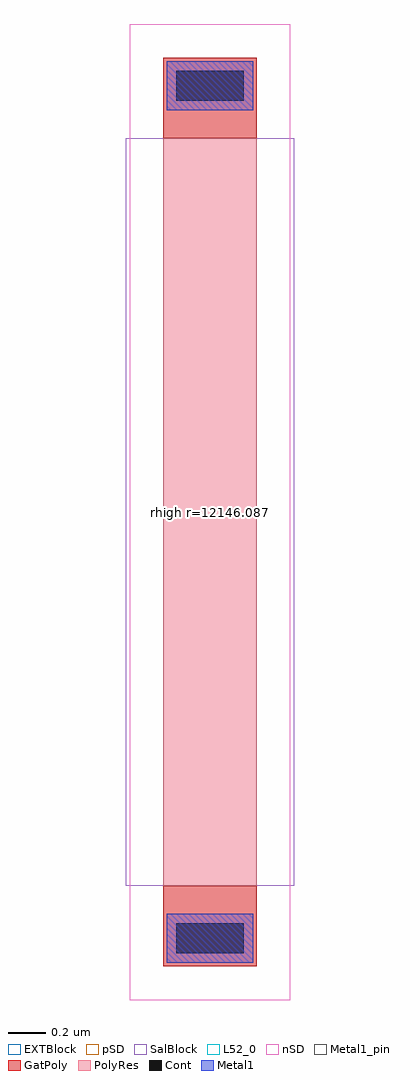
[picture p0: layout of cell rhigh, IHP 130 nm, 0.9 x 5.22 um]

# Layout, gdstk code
import gdstk
lib = gdstk.Library(unit=1e-6, precision=5e-09)
def R(c, l, rs):  # rectangles x0, y0, x1, y1
    for r in rs: c.add(gdstk.rectangle(r[:2], r[2:], *l))
GatPoly = (5, 0)
Cont = (6, 0)
nSD = (7, 0)
Metal1 = (8, 0)
Metal1_pin = (8, 2)
pSD = (14, 0)
SalBlock = (28, 0)
L52_0 = (52, 0)
EXTBlock = (111, 0)
PolyRes = (128, 0)

rhigh = lib.new_cell('rhigh')
R(rhigh, GatPoly, [(0,-0.43,0.5,0), (0,4,0.5,4.43)])
R(rhigh, Cont, [(0.07,-0.36,0.43,-0.2), (0.07,4.2,0.43,4.36)])
R(rhigh, nSD, [(-0.18,-0.61,0.68,0.18), (-0.18,0,0.68,4), (-0.18,0,0.68,4), (-0.18,3.82,0.68,4.61)])
R(rhigh, Metal1, [(0.02,-0.41,0.48,-0.15), (0.02,4.15,0.48,4.41)])
R(rhigh, Metal1_pin, [(0.02,-0.41,0.48,-0.15), (0.02,4.15,0.48,4.41)])
R(rhigh, pSD, [(-0.18,-0.61,0.68,0.18), (-0.18,0,0.68,4), (-0.18,0,0.68,4), (-0.18,3.82,0.68,4.61)])
R(rhigh, SalBlock, [(-0.2,0,0.7,4)])
R(rhigh, L52_0, [(0,0,0.5,4)])
R(rhigh, EXTBlock, [(-0.18,-0.61,0.68,0.18), (-0.2,0,0.7,4), (-0.18,3.82,0.68,4.61)])
R(rhigh, PolyRes, [(0,0,0.5,4)])
rhigh.add(gdstk.Label('rhigh r=12146.087', (0.25,2), layer=63, texttype=0))
rhigh.add(gdstk.Label('rhigh', (0.25,2), layer=52, texttype=0))

lib.write_gds('rhigh.gds')
